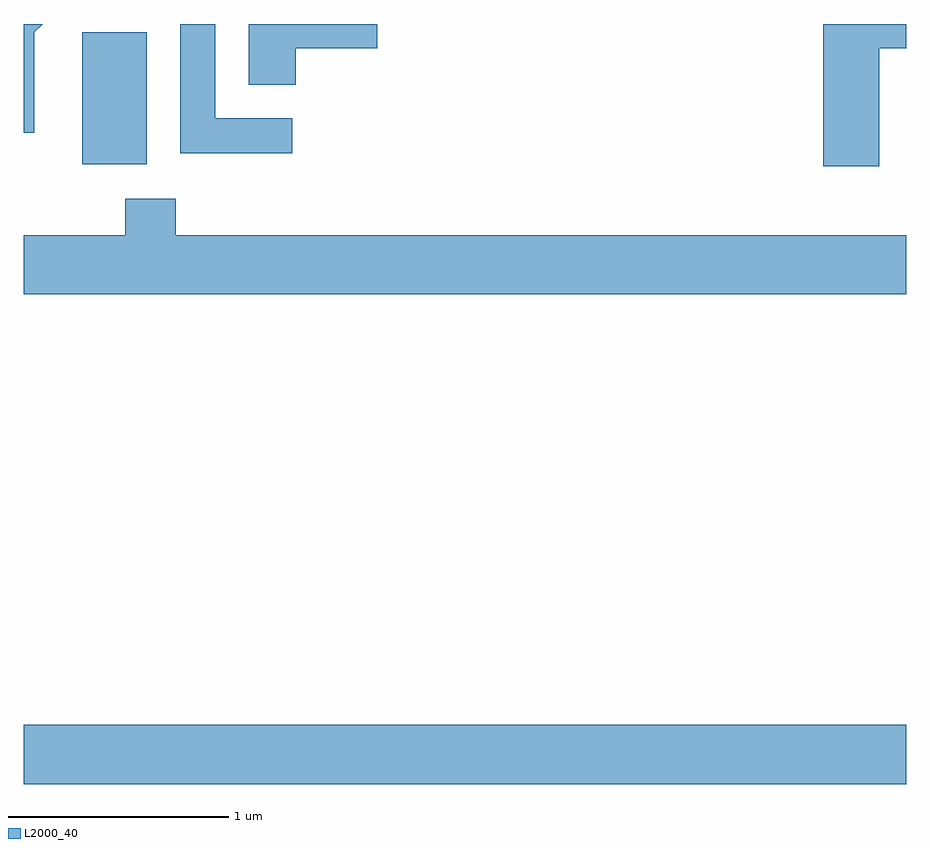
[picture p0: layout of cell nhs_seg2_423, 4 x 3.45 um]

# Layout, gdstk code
import gdstk
lib = gdstk.Library(unit=1e-6, precision=1e-09)
def R(c, l, rs):  # rectangles x0, y0, x1, y1
    for r in rs: c.add(gdstk.rectangle(r[:2], r[2:], *l))
def P(c, l, *ps):  # polygons
    for p in ps: c.add(gdstk.Polygon(p, *l))
L2000_40 = (2000, 40)

nhs_seg2_423 = lib.new_cell('nhs_seg2_423')
R(nhs_seg2_423, L2000_40, [(197.611,1008.356,201.611,1008.624), (197.876,1011.166,198.169,1011.764)])
P(nhs_seg2_423, L2000_40, [(197.659,1011.764),(197.697,1011.802),(197.611,1011.802),(197.611,1011.308),(197.659,1011.308)],
  [(198.828,1011.374),(198.479,1011.374),(198.479,1011.802),(198.321,1011.802),(198.321,1011.216),(198.828,1011.216)],
  [(201.489,1011.691),(201.611,1011.691),(201.611,1011.802),(201.236,1011.802),(201.236,1011.156),(201.489,1011.156)],
  [(198.844,1011.691),(199.214,1011.691),(199.214,1011.802),(198.631,1011.802),(198.631,1011.526),(198.844,1011.526)],
  [(201.611,1010.844),(198.299,1010.844),(198.299,1011.009),(198.071,1011.009),(198.071,1010.844),(197.611,1010.844),(197.611,1010.576),(201.611,1010.576)])

lib.write_gds('nhs_seg2_423.gds')
